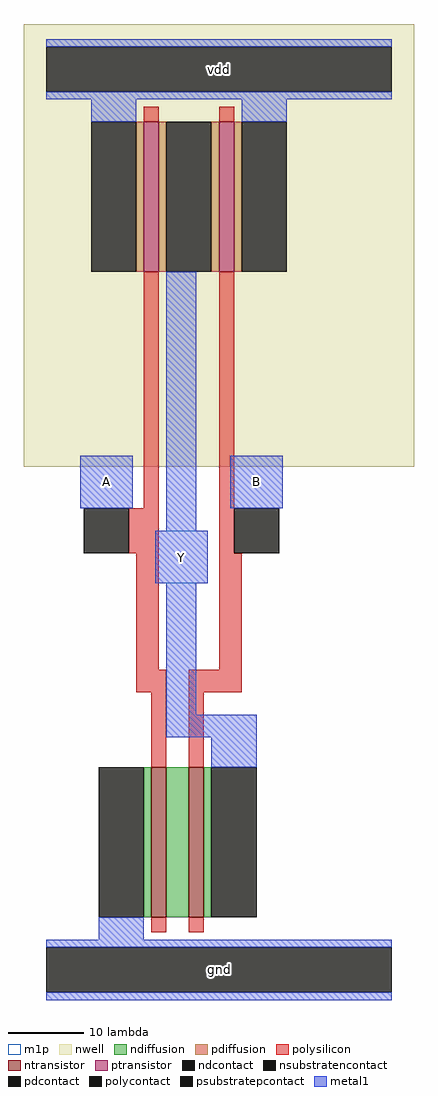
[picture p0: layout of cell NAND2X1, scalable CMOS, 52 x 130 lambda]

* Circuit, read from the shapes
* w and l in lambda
.subckt NAND2X1 A B Y vdd gnd
M1 n1 A gnd gnd nfet w=20 l=2
M2 Y B n1 gnd nfet w=20 l=2
M3 Y A vdd vdd pfet w=20 l=2
M4 vdd B Y vdd pfet w=20 l=2
.ends

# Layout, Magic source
magic
tech scmos
magscale 1 2
<< nwell >>
rect -12 134 92 252
<< ntransistor >>
rect 22 14 26 54
rect 32 14 36 54
<< ptransistor >>
rect 20 186 24 226
rect 40 186 44 226
<< ndiffusion >>
rect 20 14 22 54
rect 26 14 32 54
rect 36 14 38 54
<< pdiffusion >>
rect 18 186 20 226
rect 24 186 26 226
rect 38 186 40 226
rect 44 186 46 226
<< ndcontact >>
rect 8 14 20 54
rect 38 14 50 54
<< pdcontact >>
rect 6 186 18 226
rect 26 186 38 226
rect 46 186 58 226
<< psubstratepcontact >>
rect -6 -6 86 6
<< nsubstratencontact >>
rect -6 234 86 246
<< polysilicon >>
rect 20 226 24 230
rect 40 226 44 230
rect 20 123 24 186
rect 16 111 24 123
rect 18 80 24 111
rect 40 111 44 186
rect 40 80 46 111
rect 18 74 26 80
rect 22 54 26 74
rect 32 74 46 80
rect 32 54 36 74
rect 22 10 26 14
rect 32 10 36 14
<< polycontact >>
rect 4 111 16 123
rect 44 111 56 123
<< metal1 >>
rect -6 246 86 248
rect -6 232 86 234
rect 6 226 18 232
rect 46 226 58 232
rect 3 123 17 137
rect 26 117 34 186
rect 43 123 57 137
rect 23 103 37 117
rect 26 68 34 103
rect 26 62 50 68
rect 38 54 50 62
rect 8 8 20 14
rect -6 6 86 8
rect -6 -8 86 -6
<< m1p >>
rect 3 123 17 137
rect 43 123 57 137
rect 23 103 37 117
<< labels >>
rlabel metal1 23 103 37 117 0 Y
port 2 nsew signal output
rlabel metal1 -6 -8 86 8 0 gnd
port 4 nsew ground bidirectional abutment
rlabel metal1 -6 232 86 248 0 vdd
port 3 nsew power bidirectional abutment
rlabel metal1 3 123 17 137 0 A
port 0 nsew signal input
rlabel metal1 43 123 57 137 0 B
port 1 nsew signal input
<< properties >>
string FIXED_BBOX 0 0 80 240
string LEFclass CORE
string LEFsite core
string LEFsymmetry X Y
<< end >>
